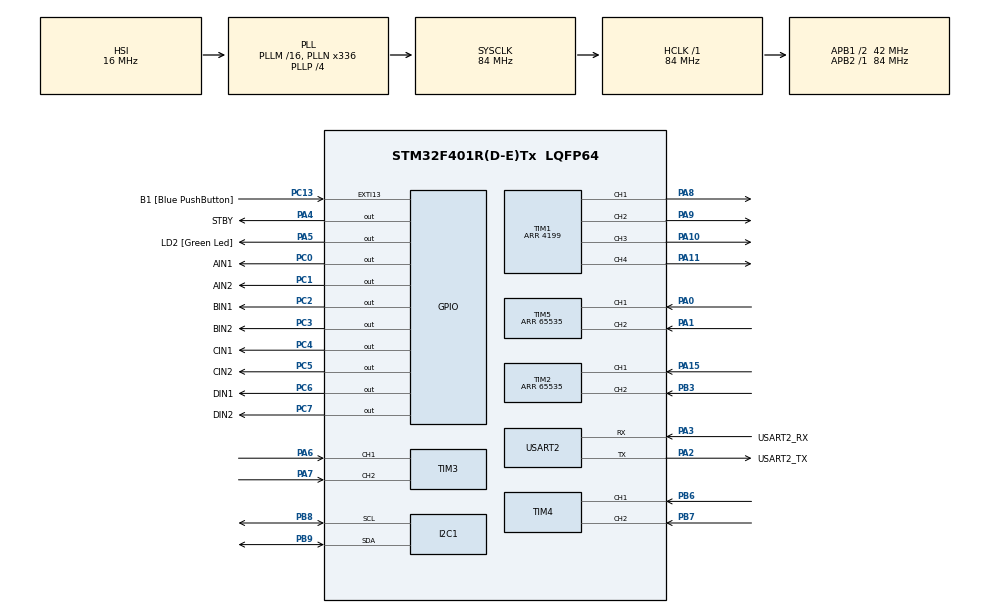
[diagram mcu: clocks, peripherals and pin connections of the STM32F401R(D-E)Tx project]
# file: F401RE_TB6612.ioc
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Mcu.Family=STM32F4
Mcu.Name=STM32F401R(D-E)Tx
Mcu.Package=LQFP64
NVIC.PriorityGroup=NVIC_PRIORITYGROUP_4
NVIC.TIM1_BRK_TIM9_IRQn=true\:5\:0\:true\:false\:true\:true\:true\:true
NVIC.USART2_IRQn=true\:6\:0\:true\:false\:true\:true\:true\:true
PA0-WKUP.Signal=S_TIM5_CH1
PA1.Signal=S_TIM5_CH2
PA10.Signal=S_TIM1_CH3
PA11.Signal=S_TIM1_CH4
PA13.GPIO_Label=TMS
PA13.Mode=Serial_Wire
PA13.Signal=SYS_JTMS-SWDIO
PA14.GPIO_Label=TCK
PA14.Mode=Serial_Wire
PA14.Signal=SYS_JTCK-SWCLK
PA15.Signal=S_TIM2_CH1_ETR
PA2.GPIO_Label=USART2_TX
PA2.GPIO_Mode=GPIO_MODE_AF_PP
PA2.GPIO_PuPd=GPIO_NOPULL
PA2.GPIO_Speed=GPIO_SPEED_FREQ_LOW
PA2.Mode=Asynchronous
PA2.Signal=USART2_TX
PA3.GPIO_Label=USART2_RX
PA3.GPIO_Mode=GPIO_MODE_AF_PP
PA3.GPIO_PuPd=GPIO_NOPULL
PA3.GPIO_Speed=GPIO_SPEED_FREQ_LOW
PA3.Mode=Asynchronous
PA3.Signal=USART2_RX
PA4.GPIO_Label=STBY
PA4.Signal=GPIO_Output
PA5.GPIO_Label=LD2 [Green Led]
PA5.GPIO_Mode=GPIO_MODE_OUTPUT_PP
PA5.GPIO_PuPd=GPIO_NOPULL
PA5.GPIO_Speed=GPIO_SPEED_FREQ_LOW
PA5.Signal=GPIO_Output
PA6.Signal=S_TIM3_CH1
PA7.Signal=S_TIM3_CH2
PA8.Signal=S_TIM1_CH1
PA9.Signal=S_TIM1_CH2
PB3.Signal=S_TIM2_CH2
PB6.Signal=S_TIM4_CH1
PB7.Signal=S_TIM4_CH2
PB8.GPIO_Pu=GPIO_PULLUP
PB8.Mode=I2C
PB8.Signal=I2C1_SCL
PB9.GPIO_Pu=GPIO_PULLUP
PB9.Mode=I2C
PB9.Signal=I2C1_SDA
PC0.GPIO_Label=AIN1
PC0.Signal=GPIO_Output
PC1.GPIO_Label=AIN2
PC1.Signal=GPIO_Output
PC13-ANTI_TAMP.GPIO_Label=B1 [Blue PushButton]
PC13-ANTI_TAMP.GPIO_ModeDefaultEXTI=GPIO_MODE_IT_FALLING
PC13-ANTI_TAMP.GPIO_PuPd=GPIO_NOPULL
PC13-ANTI_TAMP.Signal=GPXTI13
PC14-OSC32_IN.Mode=LSE-External-Oscillator
PC14-OSC32_IN.Signal=RCC_OSC32_IN
PC15-OSC32_OUT.Mode=LSE-External-Oscillator
PC15-OSC32_OUT.Signal=RCC_OSC32_OUT
PC2.GPIO_Label=BIN1
PC2.Signal=GPIO_Output
PC3.GPIO_Label=BIN2
PC3.Signal=GPIO_Output
PC4.GPIO_Label=CIN1
PC4.Signal=GPIO_Output
PC5.GPIO_Label=CIN2
PC5.Signal=GPIO_Output
PC6.GPIO_Label=DIN1
PC6.Signal=GPIO_Output
PC7.GPIO_Label=DIN2
PC7.Signal=GPIO_Output
PH0\ -\ OSC_IN.Signal=RCC_OSC_IN
PH1\ -\ OSC_OUT.Signal=RCC_OSC_OUT
ProjectManager.HeapSize=0x200
ProjectManager.StackSize=0x400
ProjectManager.TargetToolchain=STM32CubeIDE
RCC.48MHZClocksFreq_Value=48000000
RCC.AHBFreq_Value=84000000
RCC.APB1CLKDivider=RCC_HCLK_DIV2
RCC.APB1Freq_Value=42000000
RCC.APB1TimFreq_Value=84000000
RCC.APB2Freq_Value=84000000
RCC.APB2TimFreq_Value=84000000
RCC.CortexFreq_Value=84000000
RCC.HCLKFreq_Value=84000000
RCC.HSE_VALUE=16000000
RCC.HSI_VALUE=16000000
RCC.PLLN=336
RCC.PLLP=RCC_PLLP_DIV4
RCC.PLLQ=7
RCC.SYSCLKFreq_VALUE=84000000
RCC.SYSCLKSource=RCC_SYSCLKSOURCE_PLLCLK
RCC.VCOOutputFreq_Value=336000000
SH.S_TIM1_CH1.0=TIM1_CH1,PWM Generation1 CH1
SH.S_TIM1_CH2.0=TIM1_CH2,PWM Generation2 CH2
SH.S_TIM1_CH3.0=TIM1_CH3,PWM Generation3 CH3
SH.S_TIM1_CH4.0=TIM1_CH4,PWM Generation4 CH4
SH.S_TIM2_CH1_ETR.0=TIM2_CH1,Encoder_Interface
SH.S_TIM2_CH2.0=TIM2_CH2,Encoder_Interface
SH.S_TIM3_CH1.0=TIM3_CH1,Encoder_Interface
SH.S_TIM3_CH2.0=TIM3_CH2,Encoder_Interface
SH.S_TIM4_CH1.0=TIM4_CH1,Encoder_Interface
SH.S_TIM4_CH2.0=TIM4_CH2,Encoder_Interface
SH.S_TIM5_CH1.0=TIM5_CH1,Encoder_Interface
SH.S_TIM5_CH2.0=TIM5_CH2,Encoder_Interface
TIM1.Channel-PWM\ Generation1\ CH1=TIM_CHANNEL_1
TIM1.Channel-PWM\ Generation2\ CH2=TIM_CHANNEL_2
TIM1.Channel-PWM\ Generation3\ CH3=TIM_CHANNEL_3
TIM1.Channel-PWM\ Generation4\ CH4=TIM_CHANNEL_4
TIM1.OCMode_PWM-PWM\ Generation3\ CH3=TIM_OCMODE_PWM1
TIM1.Period=4199
TIM2.EncoderMode=TIM_ENCODERMODE_TI12
TIM2.IC1Filter=6
TIM2.IC2Filter=6
TIM2.Period=65535
TIM3.EncoderMode=TIM_ENCODERMODE_TI12
TIM3.IC1Filter=6
TIM3.IC2Filter=6
TIM4.EncoderMode=TIM_ENCODERMODE_TI12
TIM4.IC1Filter=6
TIM4.IC2Filter=6
TIM5.EncoderMode=TIM_ENCODERMODE_TI12
TIM5.IC1Filter=6
TIM5.IC2Filter=6
TIM5.Period=65535
TIM9.Period=99
TIM9.Prescaler=8399
USART2.VirtualMode=VM_ASYNC
VP_TIM1_VS_ClockSourceINT.Mode=Internal
VP_TIM9_VS_ClockSourceINT.Mode=Internal
board=NUCLEO-F401RE

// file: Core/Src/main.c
/* USER CODE BEGIN Header */
/**
  ******************************************************************************
  * @file           : main.c
  * @brief          : Main program body
  ******************************************************************************
  * @attention
  *
  * Copyright (c) 2026 STMicroelectronics.
  * All rights reserved.
  *
  * This software is licensed under terms that can be found in the LICENSE file
  * in the root directory of this software component.
  * If no LICENSE file comes with this software, it is provided AS-IS.
  *
  ******************************************************************************
  */
/* USER CODE END Header */
#include "main.h"
#include "i2c.h"
#include "tim.h"
#include "usart.h"
#include "gpio.h"

/* USER CODE BEGIN Includes */
/* 头文件声明“有哪些函数可以调用”，具体函数实现在同名 .c 中。
 * ROBOT_APP_MODE 是编译期选择：模式 7 编入遥控入口，其余模式保留本地测试。
 * #if 与运行时 if 不同；修改模式后需要重新编译、下载才能改变固件行为。 */
#include "motor4.h"
#include "mecanum.h"
#include "robot_app.h"
#if ROBOT_APP_MODE == 7
#include "remote_control.h"
#if LINK_PROTOCOL_V2
#include "link_v2.h"
#endif
#endif
#include "icm20948.h"   /* IMU 驱动：ICM-20948 六轴 + 磁力计 + BMP280 */
#include <stdio.h>
#include <stdlib.h>
#include <math.h>
/* USER CODE END Includes */

#if IMU_DRIVER_ENABLE
static uint8_t s_imu_ready;
#endif

#if IMU_DRIVER_ENABLE && ROBOT_APP_MODE == 7 && LINK_PROTOCOL_V2
/* 把 ICM20948 的浮点数据量化成 TELEM 使用的整数。
 * 量化只发生在主循环，不在 10ms 中断里做 I2C 或浮点格式转换。 */
static int16_t ImuClampI16(float value)
{
    if (!isfinite(value)) {
        return 0;
    }
    if (value > 32767.0f) {
        return 32767;
    }
    if (value < -32768.0f) {
        return -32768;
    }
    return (int16_t)lroundf(value);
}

static void ImuPublishV2(const icm_data_t *imu)
{
    LinkV2ImuSample sample = {0};
    if (imu == NULL) {
        LinkV2_UpdateImu(NULL);
        return;
    }

    sample.flags = LINK_V2_IMU_VALID;
    if (imu->mag_ok) {
        sample.flags |= LINK_V2_IMU_MAG_OK;
    }
    if (imu->bmp_ok) {
        sample.flags |= LINK_V2_IMU_BMP_OK;
    }
    for (unsigned i = 0U; i < 3U; ++i) {
        sample.acc_mg[i] = ImuClampI16(imu->acc_g[i] * 1000.0f);
        sample.gyro_dps10[i] = ImuClampI16(imu->gyro_dps[i] * 10.0f);
        sample.mag_ut10[i] = ImuClampI16(imu->mag_uT[i] * 10.0f);
    }
    sample.temp_c10 = ImuClampI16(imu->temp_c * 10.0f);
    LinkV2_UpdateImu(&sample);
}
#endif

/* USER CODE BEGIN PV */
/* 按键、行驶路线和串口状态由 robot_app.c 管理，电机状态由 motor4.c 管理。
 * main.c 只把这些模块连接起来，因此不再另外保存一套电机控制变量。 */
/* USER CODE END PV */

void SystemClock_Config(void);

/* USER CODE BEGIN 0 */
/* 阅读本工程可按以下顺序理解：
 * 1. main.c：上电初始化、启动定时器、反复调用应用程序。
 * 2. robot_app.h/.c：按键、路线阶段、启动延迟、运行时间和串口日志。
 * 3. mecanum.h/.c：将前进/横移/转弯要求分解为四个轮子的目标 RPM。
 * 4. motor4.h/.c：读编码器、计算转速、PI 调速、输出 PWM 和方向。
 * 5. tim.c / gpio.c / usart.c：CubeMX 生成的外设配置。
 *
 * 主循环决定“什么时候、往哪里走”；TIM9 每 10ms 中断一次，负责“怎样调速”。
 * PWM 波形和编码器计数由定时器硬件完成，不需要 CPU 对每个脉冲逐个操作。
 * 自写内容尽量放在 USER CODE 区域；CubeMX 开启保留用户代码后可保留这些区域。
 */

/**
 * @brief 把一帧姿态打到 USART2（115200）。整数定点输出，不依赖浮点 printf。
 * 行首不带 '@'，Mac 网关会忽略，不会干扰遥控协议。
 *
 * 注意：这个函数默认被 IMU_LOG_ENABLE 关闭。控制串口上只应发送协议帧；
 * 文本日志会占用主循环时间，且一旦与 T 帧拼接就会让网关 CRC 校验失败。
 * 需要看姿态时优先用 CubeIDE Live Watch，而不是往 USART2 打印。
 */
#if IMU_DRIVER_ENABLE && IMU_LOG_ENABLE
static void imu_log(const icm_data_t *d)
{
    char line[160];
    int n;
    int r10 = (int)(d->roll_deg * 10.0f);
    int p10 = (int)(d->pitch_deg * 10.0f);
    int y10 = (int)(d->yaw_deg * 10.0f);
    int t10 = (int)(d->temp_c * 10.0f);
    int h10 = (int)(d->press_hpa * 10.0f);
    float b = sqrtf(d->mag_uT[0] * d->mag_uT[0] + d->mag_uT[1] * d->mag_uT[1] +
                    d->mag_uT[2] * d->mag_uT[2]);

    n = snprintf(line, sizeof(line),
                 "IMU r=%d.%01d p=%d.%01d y=%d.%01d | %d.%01d hPa %d.%01d C | B=%d.%01d uT%s\r\n",
                 r10 / 10, abs(r10 % 10), p10 / 10, abs(p10 % 10), y10 / 10, abs(y10 % 10),
                 h10 / 10, abs(h10 % 10), t10 / 10, abs(t10 % 10),
                 (int)b, (int)((b - (float)(int)b) * 10.0f), d->mag_ok ? "" : " (mag无效)");
    if (n > 0) {
        if (n > (int)sizeof(line) - 1) {
            n = (int)sizeof(line) - 1;
        }
        HAL_UART_Transmit(&huart2, (uint8_t *)line, (uint16_t)n, 50);
    }
}
#endif
/* USER CODE END 0 */

int main(void)
{

  /* USER CODE BEGIN 1 */
  /* 上电流程：HAL 基础初始化 -> 系统时钟 -> GPIO/各定时器/串口配置
   * -> 电机模块初始化并启动 PWM、编码器 -> 启动 10ms 控制中断 -> 应用初始化。
   * 配置外设不等于让小车运动；遥控模式收到握手、使能和有效速度指令后才会运动。 */
  /* USER CODE END 1 */

  /* MCU Configuration--------------------------------------------------------*/

  /* Reset of all peripherals, Initializes the Flash interface and the Systick. */
  HAL_Init();

  /* USER CODE BEGIN Init */
  /* HAL_Init 建立 HAL 基础环境和 SysTick 毫秒计时；它不启动电机。
   * 后面的 MX_xxx_Init 配置外设，Motor4_Init 和 Start_IT 才负责启动对应硬件。
   * HAL_OK 表示初始化成功；其他返回值交给 Error_Handler 统一撤销驱动。 */
  /* USER CODE END Init */

  /* Configure the system clock */
  SystemClock_Config();

  /* USER CODE BEGIN SysInit */
  /* 当前时钟使用芯片内部 HSI 16MHz，不依赖 ST-LINK 提供外部时钟：
   * PLL 输入 = 16MHz / M(16) = 1MHz；VCO = 1MHz * N(336) = 336MHz；
   * SYSCLK = 336MHz / P(4) = 84MHz，AHB 不分频，所以 CPU/HCLK 为 84MHz。
   * APB1 分频 2 后 PCLK1=42MHz，APB2 不分频所以 PCLK2=84MHz。
   * 本配置下 APB1 定时器时钟自动乘 2，APB2 定时器不再乘 2，均为 84MHz。
   * 时钟改变后，PWM 频率、控制周期和串口波特率都要重新核对。 */
  /* 术语对应：HSI=高速内部振荡源，PLL=锁相环，VCO=PLL 内部振荡器；
   * M/N/P 分别是输入分频、内部倍频、输出分频，336MHz 不是 CPU 频率。
   * SYSCLK 是系统选中的主时钟；AHB/APB 是内部总线，HCLK/PCLK 是对应时钟。
   * APB1 上的 USART2 使用 PCLK1=42MHz；定时器分支才按当前规则得到 84MHz。
   * 这里的说明属于注释，真正设置寄存器的是 SystemClock_Config 函数。 */
  /* USER CODE END SysInit */

  /* Initialize all configured peripherals */
  MX_GPIO_Init();
  MX_TIM1_Init();
  MX_TIM3_Init();
  MX_TIM4_Init();
  MX_USART2_UART_Init();
  MX_TIM2_Init();
  MX_TIM5_Init();
  MX_TIM9_Init();
  MX_I2C1_Init();
  /* USER CODE BEGIN 2 */
  /* motor4 持有四路电机状态，先完成初始化，避免定时中断读到未就绪的数据。 */
  /* 首先保持 STBY 关闭，启动 PWM 和编码器读取能力，等待应用下发非零目标。
   * 初始化不等于使能遥控；连接、使能和速度目标由 remote_control 分开管理。 */
  if (Motor4_Init() != HAL_OK) {
      Error_Handler();
  }
  /* TIM9 作为全车共用的 10ms 节拍。启动前清零计数器和旧更新标志，
   * 避免把初始化时留下的更新标志误当作一次新的控制周期。 */
  __HAL_TIM_SET_COUNTER(&htim9, 0);
  __HAL_TIM_CLEAR_FLAG(&htim9, TIM_FLAG_UPDATE);
  if (HAL_TIM_Base_Start_IT(&htim9) != HAL_OK) {
      Error_Handler();
  }
  /* 应用从停止状态开始；模式7建立遥控接收状态，其余模式初始化按键/路线。
   * 遥控的结构化T遥测和本地测试的READY文本由各自模式的主循环流程输出。 */
  RobotApp_Init();
  /* IMU 初始化：复位 ICM、配置量程、开磁力计旁路、标定陀螺零偏（约 0.8s）。
   * 这 0.8 秒板子必须静止；期间电机不会动（电机在收到遥控指令前保持停止）。 */
#if IMU_DRIVER_ENABLE
  s_imu_ready = (uint8_t)ICM20948_Init();
#if ROBOT_APP_MODE == 7 && LINK_PROTOCOL_V2
  if (!s_imu_ready) {
    LinkV2ImuSample bad = {0};
    bad.flags = LINK_V2_IMU_INIT_FAIL;
    LinkV2_UpdateImu(&bad);
  }
#endif
#endif
  /* USER CODE END 2 */

  /* Infinite loop */
  while (1)
  {

    /* USER CODE BEGIN 3 */
    /* 每次轮询只处理当前该做的事，不用长延时等待 5秒/12秒路线结束。
     * 这样运动期间仍能检查按键、故障和超时。HAL_Delay(1) 只是约 1ms 的让步；
     * 它不产生电机的 10ms 控制周期，控制周期由 TIM9 中断独立提供。 */
    RobotApp_Poll();

#if IMU_DRIVER_ENABLE
    /* 20ms 读一次（50Hz）。IMU 数据只在读取成功后更新 TELEM；
     * 读取失败会把 IMU 标志清 0，不影响电机和 v2 遥控链路。 */
    {
      static uint32_t imu_next_ms, imu_print_ms;
      static icm_data_t imu;

      if ((uint32_t)(HAL_GetTick() - imu_next_ms) < 0x80000000U) {
        imu_next_ms = HAL_GetTick() + 20U;
        if (ICM20948_Read(&imu)) {
#if ROBOT_APP_MODE == 7 && LINK_PROTOCOL_V2
          ImuPublishV2(&imu);
#endif
          if ((uint32_t)(HAL_GetTick() - imu_print_ms) >= 100U) {
            imu_print_ms = HAL_GetTick();
#if IMU_LOG_ENABLE
            imu_log(&imu);
#endif
          }
        } else {
#if ROBOT_APP_MODE == 7 && LINK_PROTOCOL_V2
          LinkV2ImuSample bad = {0};
          bad.flags = s_imu_ready ? LINK_V2_IMU_READ_FAIL : LINK_V2_IMU_INIT_FAIL;
          LinkV2_UpdateImu(&bad);
#endif
        }
      }
    }
#endif

    HAL_Delay(1);
  }
  /* USER CODE END 3 */
}

void SystemClock_Config(void)
{
  RCC_OscInitTypeDef RCC_OscInitStruct = {0};
  RCC_ClkInitTypeDef RCC_ClkInitStruct = {0};

  /** Configure the main internal regulator output voltage
  */
  __HAL_RCC_PWR_CLK_ENABLE();
  __HAL_PWR_VOLTAGESCALING_CONFIG(PWR_REGULATOR_VOLTAGE_SCALE2);

  /** Initializes the RCC Oscillators according to the specified parameters
  * in the RCC_OscInitTypeDef structure.
  */
  RCC_OscInitStruct.OscillatorType = RCC_OSCILLATORTYPE_HSI;
  RCC_OscInitStruct.HSIState = RCC_HSI_ON;
  RCC_OscInitStruct.HSICalibrationValue = RCC_HSICALIBRATION_DEFAULT;
  RCC_OscInitStruct.PLL.PLLState = RCC_PLL_ON;
  RCC_OscInitStruct.PLL.PLLSource = RCC_PLLSOURCE_HSI;
  RCC_OscInitStruct.PLL.PLLM = 16;
  RCC_OscInitStruct.PLL.PLLN = 336;
  RCC_OscInitStruct.PLL.PLLP = RCC_PLLP_DIV4;
  RCC_OscInitStruct.PLL.PLLQ = 7;
  if (HAL_RCC_OscConfig(&RCC_OscInitStruct) != HAL_OK)
  {
    Error_Handler();
  }

  /** Initializes the CPU, AHB and APB buses clocks
  */
  RCC_ClkInitStruct.ClockType = RCC_CLOCKTYPE_HCLK|RCC_CLOCKTYPE_SYSCLK
                              |RCC_CLOCKTYPE_PCLK1|RCC_CLOCKTYPE_PCLK2;
  RCC_ClkInitStruct.SYSCLKSource = RCC_SYSCLKSOURCE_PLLCLK;
  RCC_ClkInitStruct.AHBCLKDivider = RCC_SYSCLK_DIV1;
  RCC_ClkInitStruct.APB1CLKDivider = RCC_HCLK_DIV2;
  RCC_ClkInitStruct.APB2CLKDivider = RCC_HCLK_DIV1;

  if (HAL_RCC_ClockConfig(&RCC_ClkInitStruct, FLASH_LATENCY_2) != HAL_OK)
  {
    Error_Handler();
  }
}

/* USER CODE BEGIN 4 */
/* 中断调用链：TIM9 更新事件 -> TIM1_BRK_TIM9_IRQHandler（stm32f4xx_it.c）
 * -> HAL_TIM_IRQHandler -> 本回调 -> 四路编码器测速、PI 调速和故障检查。
 * TIM1 和 TIM9 共用中断入口，故通过 Instance 判断，只让 TIM9 驱动控制节拍。
 * 此处在中断环境中执行，应短小，不能加串口打印、长延时或路线等待。 */
void HAL_TIM_PeriodElapsedCallback(TIM_HandleTypeDef *htim)
{
    if (htim->Instance == TIM9) {
#if ROBOT_APP_MODE == 7
        /* 指令超时和本地停止先于本周期PI输出，不依赖主循环是否阻塞。 */
        /* 主循环负责接收和解析“下一条命令”，本中断独立检查“已有命令是否过期”。
         * 若许可失效，先停止，再让 motor4 处理停止后的状态，避免继续输出旧目标。 */
#if LINK_PROTOCOL_V2
        LinkV2_Tick10ms();
#else
        RemoteControl_Tick10ms();
#endif
#endif
// 每 10ms：读编码器算转速 → 查故障和看门狗 → 每轮跑一次 PI 算出占空比 → 四轮一起提交。
// 它是整台车唯一真正"驱动电机"的地方，遥控、麦轮、路线 最终都只是给它填目标值。
        Motor4_ControlTick10ms();
    }
}
/* USER CODE END 4 */

void Error_Handler(void)
{
  /* USER CODE BEGIN Error_Handler_Debug */
  /* 初始化等关键 HAL 操作失败会走到这里：先拉低共享 STBY，撤销四轮驱动，
   * 再关闭中断并停留，等待排查或复位；普通轮询故障由 motor4/robot_app 处理。 */
  HAL_GPIO_WritePin(GPIOA, GPIO_PIN_4, GPIO_PIN_RESET);
  __disable_irq();
  while (1) {
  }
  /* USER CODE END Error_Handler_Debug */
}
